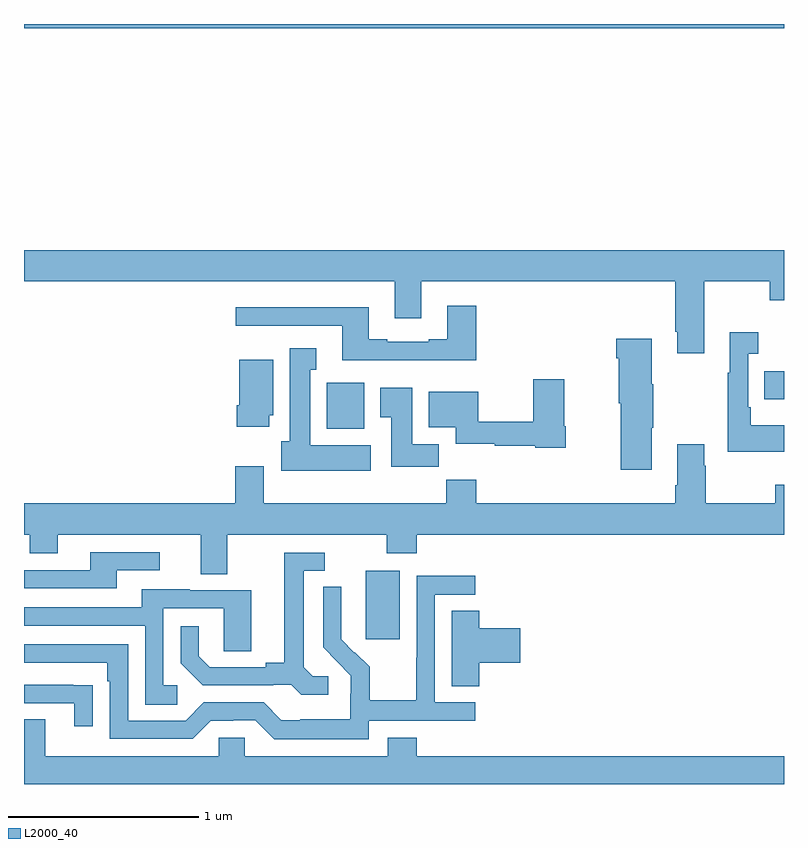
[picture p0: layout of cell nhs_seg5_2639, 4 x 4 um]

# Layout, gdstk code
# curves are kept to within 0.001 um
import gdstk
lib = gdstk.Library(unit=1e-6, precision=1e-09)
def R(c, l, rs):  # rectangles x0, y0, x1, y1
    for r in rs: c.add(gdstk.rectangle(r[:2], r[2:], *l))
def P(c, l, *ps):  # polygons
    for p in ps: c.add(gdstk.Polygon(p, *l))
L2000_40 = (2000, 40)

nhs_seg5_2639 = lib.new_cell('nhs_seg5_2639')
R(nhs_seg5_2639, L2000_40, [(266.798,837.561,266.977,837.922), (266.594,838.67,266.791,838.912), (268.897,838.823,269,838.971), (265,840.776,269,840.799)])
P(nhs_seg5_2639, L2000_40, [(268.579,839.444),(268.924,839.444),(268.924,839.345),(269,839.345),(269,839.608),(265,839.608),(265,839.444),(266.951,839.444),(266.951,839.25),(267.091,839.25),(267.091,839.444),(268.427,839.444),(268.427,839.179),(268.439,839.179),(268.439,839.067),(268.579,839.067)],
  [(267.38,839.317),(267.227,839.317),(267.227,839.14),(267.131,839.14),(267.131,839.127),(266.911,839.127),(266.911,839.14),(266.815,839.14),(266.815,839.308),(266.115,839.308),(266.115,839.211),(266.675,839.211),(266.675,839.03),(267.38,839.03)],
  [(269,838.687),(268.825,838.687),(268.825,838.783),(268.812,838.783),(268.812,839.063),(268.864,839.063),(268.864,839.176),(268.715,839.176),(268.715,838.963),(268.704,838.963),(268.704,838.547),(269,838.547)],
  [(268.303,838.675),(268.311,838.675),(268.311,838.903),(268.303,838.903),(268.303,839.143),(268.118,839.143),(268.118,839.039),(268.13,839.039),(268.13,838.803),(268.141,838.803),(268.141,838.452),(268.303,838.452)],
  [(266.824,838.582),(266.506,838.582),(266.506,838.979),(266.539,838.979),(266.539,839.092),(266.399,839.092),(266.399,838.602),(266.354,838.602),(266.354,838.448),(266.824,838.448)],
  [(266.29,838.74),(266.311,838.74),(266.311,839.032),(266.132,839.032),(266.132,838.792),(266.12,838.792),(266.12,838.68),(266.29,838.68)],
  [(267.852,838.681),(267.844,838.681),(267.844,838.93),(267.679,838.93),(267.679,838.706),(267.39,838.706),(267.39,838.864),(267.131,838.864),(267.131,838.676),(267.272,838.676),(267.272,838.589),(267.478,838.589),(267.478,838.578),(267.69,838.578),(267.69,838.57),(267.852,838.57)],
  [(267.182,838.588),(267.043,838.588),(267.043,838.885),(266.876,838.885),(266.876,838.729),(266.933,838.729),(266.933,838.47),(267.182,838.47)],
  [(266.263,838.471),(266.111,838.471),(266.111,838.276),(265,838.276),(265,838.112),(265.03,838.112),(265.03,838.013),(265.177,838.013),(265.177,838.112),(265.931,838.112),(265.931,837.904),(266.071,837.904),(266.071,838.112),(266.908,838.112),(266.908,838.013),(267.068,838.013),(267.068,838.112),(269,838.112),(269,838.375),(268.954,838.375),(268.954,838.276),(268.587,838.276),(268.587,838.475),(268.579,838.475),(268.579,838.588),(268.439,838.588),(268.439,838.372),(268.427,838.372),(268.427,838.276),(267.38,838.276),(267.38,838.4),(267.223,838.4),(267.223,838.276),(266.263,838.276)],
  [(265.489,837.924),(265.714,837.924),(265.714,838.02),(265.349,838.02),(265.349,837.924),(265,837.924),(265,837.828),(265.489,837.828)],
  [(266.602,837.366),(266.52,837.366),(266.473,837.413),(266.473,837.921),(266.584,837.921),(266.584,838.017),(266.369,838.017),(266.369,837.437),(266.273,837.437),(266.273,837.414),(265.978,837.414),(265.921,837.471),(265.921,837.628),(265.824,837.628),(265.824,837.434),(265.94,837.318),(266.312,837.318),(266.312,837.321),(266.406,837.321),(266.458,837.269),(266.602,837.269)],
  [(266.814,837.132),(267.376,837.132),(267.376,837.228),(267.162,837.228),(267.162,837.795),(267.376,837.795),(267.376,837.894),(267.066,837.894),(267.066,837.464),(267.064,837.464),(267.064,837.241),(266.819,837.241),(266.819,837.415),(266.742,837.492),(266.739,837.489),(266.669,837.56),(266.67,837.836),(266.574,837.836),(266.574,837.518),(266.72,837.37),(266.72,837.273),(266.718,837.273),(266.718,837.139),(266.455,837.139),(266.455,837.135),(266.355,837.135),(266.262,837.228),(265.947,837.228),(265.851,837.132),(265.548,837.132),(265.548,837.534),(265,837.534),(265,837.438),(265.439,837.438),(265.439,837.341),(265.452,837.341),(265.452,837.036),(265.887,837.036),(265.983,837.132),(266.102,837.132),(266.102,837.135),(266.217,837.135),(266.317,837.035),(266.814,837.035)],
  [(265.807,837.318),(265.734,837.318),(265.734,837.723),(266.052,837.723),(266.052,837.499),(266.197,837.499),(266.197,837.819),(265.873,837.819),(265.873,837.823),(265.619,837.823),(265.619,837.729),(265,837.729),(265,837.633),(265.638,837.633),(265.638,837.217),(265.807,837.217)],
  [(267.395,837.437),(267.613,837.437),(267.613,837.62),(267.395,837.62),(267.395,837.71),(267.251,837.71),(267.251,837.313),(267.395,837.313)],
  [(265.361,837.32),(265.259,837.32),(265.259,837.321),(265,837.321),(265,837.225),(265.265,837.225),(265.265,837.102),(265.361,837.102)],
  [(269,836.944),(267.068,836.944),(267.068,837.043),(266.915,837.043),(266.915,836.944),(266.163,836.944),(266.163,837.042),(266.025,837.042),(266.025,836.944),(265.111,836.944),(265.111,837.139),(265,837.139),(265,836.799),(269,836.799)])

lib.write_gds('nhs_seg5_2639.gds')
